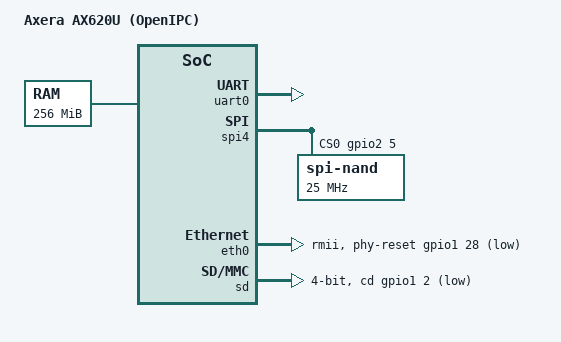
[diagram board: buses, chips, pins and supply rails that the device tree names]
// SPDX-License-Identifier: GPL-2.0+
/*
 * Axera AX620U camera with SPI NAND: what U-Boot drives. Addresses from
 * the stock AX620U U-Boot's and kernel's devicetrees; the DDR size is
 * the one the stock U-Boot reports.
 */
/dts-v1/;

#include <dt-bindings/gpio/gpio.h>

/ {
	model = "Axera AX620U (OpenIPC)";
	compatible = "axera,ax620x";
	#address-cells = <1>;
	#size-cells = <1>;

	aliases {
		serial0 = &uart0;
		spi4 = &spi4;
		ethernet0 = &eth0;
		mmc0 = &sd;
	};

	chosen {
		stdout-path = "serial0:115200n8";
	};

	memory@40000000 {
		device_type = "memory";
		reg = <0x40000000 0x10000000>;
	};

	timer {
		compatible = "arm,armv7-timer";
		clock-frequency = <24000000>;
	};

	/*
	 * The stock U-Boot's ap_clk. The first stage has set the UART and SSI
	 * clocks; U-Boot only divides them.
	 */
	ap_clk: ap-clk {
		compatible = "fixed-clock";
		#clock-cells = <0>;
		clock-frequency = <200000000>;
		u-boot,dm-pre-reloc;
	};

	uart0: serial@4990000 {
		compatible = "snps,dw-apb-uart";
		reg = <0x4990000 0x100>;
		reg-shift = <2>;
		reg-io-width = <4>;
		clocks = <&ap_clk>;
		u-boot,dm-pre-reloc;
	};

	gpio@10010000 {
		compatible = "snps,dw-apb-gpio";
		reg = <0x10010000 0x400>;
		#address-cells = <1>;
		#size-cells = <0>;

		gpio2: gpio-controller@0 {
			compatible = "snps,dw-apb-gpio-port";
			gpio-controller;
			#gpio-cells = <2>;
			snps,nr-gpios = <32>;
			reg = <0>;
		};
	};

	gpio@4960000 {
		compatible = "snps,dw-apb-gpio";
		reg = <0x4960000 0x400>;
		#address-cells = <1>;
		#size-cells = <0>;

		gpio1: gpio-controller@0 {
			compatible = "snps,dw-apb-gpio-port";
			gpio-controller;
			#gpio-cells = <2>;
			snps,nr-gpios = <32>;
			reg = <0>;
		};
	};

	/*
	 * The SPI NAND's DesignWare SSI ("snps,dw-ssi" in the stock trees),
	 * with the DWC_ssi register layout, and its chip select on GPIO2 5.
	 * Mainline's driver moves one data line, so the NAND is driven at
	 * single width; spi-max-frequency keeps the divider at 8 or more.
	 */
	spi4: spi@8000000 {
		compatible = "snps,dwc-ssi-1.01a";
		reg = <0x8000000 0x1000>;
		#address-cells = <1>;
		#size-cells = <0>;
		clocks = <&ap_clk>;
		cs-gpios = <&gpio2 5 0>;
		spi-max-frequency = <25000000>;

		spi-nand@0 {
			compatible = "spi-nand";
			reg = <0>;
			spi-max-frequency = <25000000>;
			spi-tx-bus-width = <1>;
			spi-rx-bus-width = <1>;
		};
	};

	/*
	 * The DWC Ethernet QoS, RMII to an external PHY (an RTL8201F at
	 * MDIO address 1 in the stock kernel's tree) whose TXC drives the
	 * 50 MHz reference clock ("rmii-phy-dir" "output", the stock glue's
	 * "RMII PHY TXC output mode"); the PHY's reset is GPIO1 28, low in
	 * reset. "emac-bus-clock" is the CSR clock.
	 */
	eth0: ethernet@4970000 {
		compatible = "axera,ax620-eqos";
		reg = <0x4970000 0x10000>;
		emac-bus-clock = <312000000>;
		phy-mode = "rmii";
		rmii-phy-dir = "output";
		phy-reset-gpios = <&gpio1 28 GPIO_ACTIVE_LOW>;
	};

	/*
	 * The SD card slot: Cadence SD4HC, 4 bits, 3.3 V only, card detect
	 * on GPIO1 2 (low with a card in). The PHY delays are the stock
	 * U-Boot's; the base clock comes from the capabilities register.
	 */
	sd: mmc@4950000 {
		compatible = "socionext,uniphier-sd4hc", "cdns,sd4hc";
		reg = <0x4950000 0x10000>;
		bus-width = <4>;
		sdhci-caps-mask = <0x7 0x200000>;
		cap-sd-highspeed;
		no-1-8-v;
		no-sdio;
		no-mmc;
		disable-wp;
		cd-gpios = <&gpio1 2 GPIO_ACTIVE_HIGH>;
		cd-inverted;
		cdns,phy-input-delay-sd-highspeed = <0x2>;
		cdns,phy-input-delay-legacy = <0x4>;
		cdns,phy-input-delay-sd-uhs-sdr12 = <0x1>;
		cdns,phy-input-delay-sd-uhs-sdr25 = <0x2>;
		cdns,phy-input-delay-sd-uhs-sdr50 = <0x1>;
		cdns,phy-input-delay-sd-uhs-ddr50 = <0x2>;
		cdns,phy-input-delay-mmc-highspeed = <0x2>;
		cdns,phy-input-delay-mmc-ddr = <0x2>;
		cdns,phy-dll-delay-sdclk = <0x0>;
		cdns,phy-dll-delay-sdclk-hsmmc = <0x17>;
	};
};
